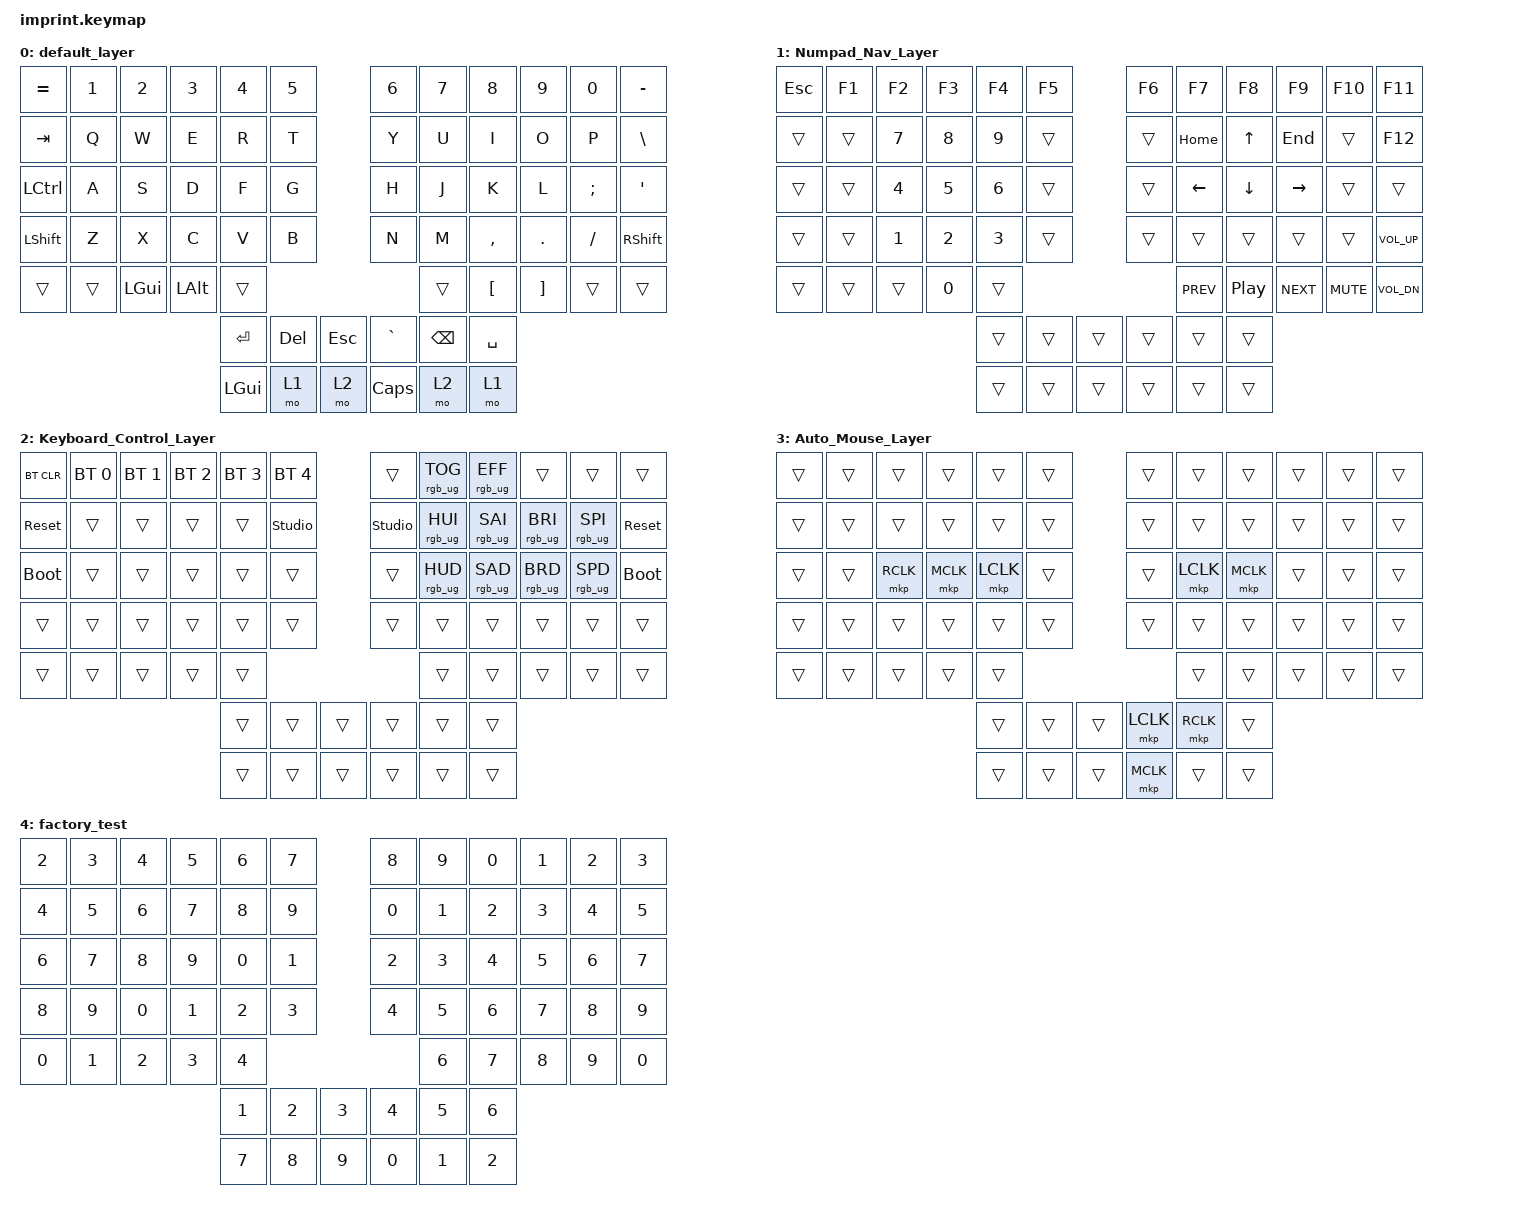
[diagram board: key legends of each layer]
#include <input/processors.dtsi>
#include <dt-bindings/zmk/input_transform.h>
#include <behaviors.dtsi>
#include <dt-bindings/zmk/bt.h>
#include <dt-bindings/zmk/keys.h>
#include <dt-bindings/zmk/pointing.h>
#include <dt-bindings/zmk/rgb.h>

/ {
    chosen { zmk,physical-layout = &physical_layout_imprint_number_row_full_bottom_row; };
    keymap {
        compatible = "zmk,keymap";

        default_layer {
            bindings = <
&kp EQUAL  &kp N1  &kp N2    &kp N3    &kp N4    &kp N5              &kp N6     &kp N7    &kp N8     &kp N9    &kp N0    &kp MINUS
&kp TAB    &kp Q   &kp W     &kp E     &kp R     &kp T               &kp Y      &kp U     &kp I      &kp O     &kp P     &kp BSLH
&kp LCTRL  &kp A   &kp S     &kp D     &kp F     &kp G               &kp H      &kp J     &kp K      &kp L     &kp SEMI  &kp SQT
&kp LSHFT  &kp Z   &kp X     &kp C     &kp V     &kp B               &kp N      &kp M     &kp COMMA  &kp DOT   &kp FSLH  &kp RSHFT
&trans     &trans  &kp LGUI  &kp LALT  &trans                                   &trans    &kp LBKT   &kp RBKT  &trans    &trans
                                       &kp RET   &kp DEL  &kp ESC    &kp GRAVE  &kp BSPC  &kp SPACE
                                       &kp LGUI  &mo 1    &mo 2      &kp CAPS   &mo 2     &mo 1
            >;
        };

        Numpad_Nav_Layer {
            bindings = <
&kp ESC  &kp F1  &kp F2  &kp F3  &kp F4  &kp F5            &kp F6  &kp F7      &kp F8    &kp F9      &kp F10     &kp F11
&trans   &trans  &kp N7  &kp N8  &kp N9  &trans            &trans  &kp HOME    &kp UP    &kp END     &trans      &kp F12
&trans   &trans  &kp N4  &kp N5  &kp N6  &trans            &trans  &kp LEFT    &kp DOWN  &kp RIGHT   &trans      &trans
&trans   &trans  &kp N1  &kp N2  &kp N3  &trans            &trans  &trans      &trans    &trans      &trans      &kp C_VOL_UP
&trans   &trans  &trans  &kp N0  &trans                            &kp C_PREV  &kp C_PP  &kp C_NEXT  &kp C_MUTE  &kp C_VOL_DN
                                 &trans  &trans  &trans    &trans  &trans      &trans
                                 &trans  &trans  &trans    &trans  &trans      &trans
            >;
        };

        Keyboard_Control_Layer {
            bindings = <
&bt BT_CLR   &bt BT_SEL 0  &bt BT_SEL 1  &bt BT_SEL 2  &bt BT_SEL 3  &bt BT_SEL 4              &trans          &rgb_ug RGB_TOG  &rgb_ug RGB_EFF  &trans           &trans           &trans
&sys_reset   &trans        &trans        &trans        &trans        &studio_unlock            &studio_unlock  &rgb_ug RGB_HUI  &rgb_ug RGB_SAI  &rgb_ug RGB_BRI  &rgb_ug RGB_SPI  &sys_reset
&bootloader  &trans        &trans        &trans        &trans        &trans                    &trans          &rgb_ug RGB_HUD  &rgb_ug RGB_SAD  &rgb_ug RGB_BRD  &rgb_ug RGB_SPD  &bootloader
&trans       &trans        &trans        &trans        &trans        &trans                    &trans          &trans           &trans           &trans           &trans           &trans
&trans       &trans        &trans        &trans        &trans                                                  &trans           &trans           &trans           &trans           &trans
                                                       &trans        &trans          &trans    &trans          &trans           &trans
                                                       &trans        &trans          &trans    &trans          &trans           &trans
            >;
        };

        Auto_Mouse_Layer {
            bindings = <
&trans  &trans  &trans     &trans     &trans     &trans            &trans     &trans     &trans     &trans  &trans  &trans
&trans  &trans  &trans     &trans     &trans     &trans            &trans     &trans     &trans     &trans  &trans  &trans
&trans  &trans  &mkp RCLK  &mkp MCLK  &mkp LCLK  &trans            &trans     &mkp LCLK  &mkp MCLK  &trans  &trans  &trans
&trans  &trans  &trans     &trans     &trans     &trans            &trans     &trans     &trans     &trans  &trans  &trans
&trans  &trans  &trans     &trans     &trans                                  &trans     &trans     &trans  &trans  &trans
                                      &trans     &trans  &trans    &mkp LCLK  &mkp RCLK  &trans
                                      &trans     &trans  &trans    &mkp MCLK  &trans     &trans
            >;
        };

        factory_test {
            bindings = <
&kp N2  &kp N3  &kp N4  &kp N5  &kp N6  &kp N7            &kp N8  &kp N9  &kp N0  &kp N1  &kp N2  &kp N3
&kp N4  &kp N5  &kp N6  &kp N7  &kp N8  &kp N9            &kp N0  &kp N1  &kp N2  &kp N3  &kp N4  &kp N5
&kp N6  &kp N7  &kp N8  &kp N9  &kp N0  &kp N1            &kp N2  &kp N3  &kp N4  &kp N5  &kp N6  &kp N7
&kp N8  &kp N9  &kp N0  &kp N1  &kp N2  &kp N3            &kp N4  &kp N5  &kp N6  &kp N7  &kp N8  &kp N9
&kp N0  &kp N1  &kp N2  &kp N3  &kp N4                            &kp N6  &kp N7  &kp N8  &kp N9  &kp N0
                                &kp N1  &kp N2  &kp N3    &kp N4  &kp N5  &kp N6
                                &kp N7  &kp N8  &kp N9    &kp N0  &kp N1  &kp N2
            >;
        };
    };
};

// right hand trackball configuration

&trackball_peripheral_listener {
    //     activate layer 3 within 500ms of the trackball moving

    input-processors = <&zip_temp_layer 3 500>;
};

//left hand trackball configuration

&trackball_central_listener {
    input-processors =
        // multiply sensitivity by 1, divide by 12 (make it slower for scrolling),
        <&zip_xy_scaler 1 12>,
        // make this trackball output scrolling events by default instead of cursor movement,
        <&zip_xy_to_scroll_mapper>,
        // invert vertical scrolling so that the view moves in the same direction as the top of the trackball.,
        <&zip_scroll_transform INPUT_TRANSFORM_Y_INVERT>;
};
